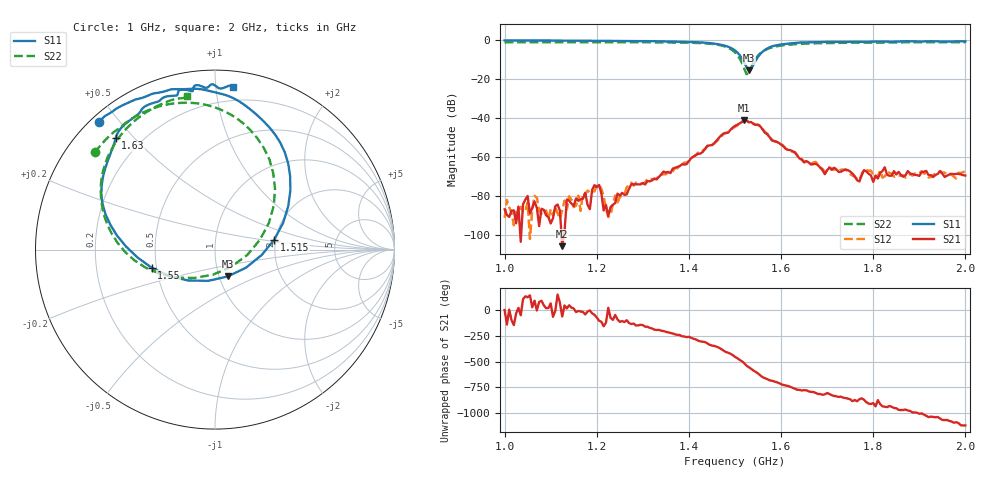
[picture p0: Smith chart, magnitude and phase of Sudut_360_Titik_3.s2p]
# Hz S RI R 50
! CMT, C1220, 16058040, 17.2.0/1
! Date: 14/08/2018 12:42:17
! Data: Format (Calibration Info)
! Freq  S11: Re/Im (F2)  S21: Re/Im (F2)  S12: Re/Im (F2)  S22: Re/Im (F2)
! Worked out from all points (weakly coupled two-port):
!   201 points, 1 GHz to 2 GHz, reference 50 ohm
!   highest |S21| = -41.10 dB at 1.52 GHz (marker M1); lowest = -105.9 dB at 1.125 GHz (marker M2)
!   lowest |S11| = -15.6 dB at 1.53 GHz (marker M3), VSWR 1.40, Z = 55 - j16.9 ohm
!   |S11| at or under -10 dB: 1.516 GHz to 1.547 GHz (30.34 MHz wide, 1.98 % of centre)
!   |S22| runs from -17.6 to -1.2 dB; largest |S21 - S12| = 0.00039
!   S11 on the Smith chart (normalised r, x): 1 GHz: 0.02, +0.44; 1.515 GHz: 1.97, +0.24; 1.55 GHz: 0.47, -0.11; 1.63 GHz: 0.11, +0.44; 2 GHz: 0.10, +1.11
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1e9  -0.6483 0.7136  4.48e-05 -2.02e-06  -1.7e-05 -2.14e-05  -0.6705 0.5419
1.125e9  -0.5218 0.8008  2.02e-06 -4.68e-06  4.06e-05 1.04e-05  -0.5944 0.6276
1.17e9  -0.4744 0.8223  7.76e-05 -3.21e-05  0.000109 -4.46e-05  -0.558 0.6592
1.195e9  -0.4389 0.8375  0.00012 -0.000143  8.68e-05 -9.49e-05  -0.5331 0.6728
1.205e9  -0.4282 0.8396  -5.31e-05 -0.000182  -3.76e-05 -0.000182  -0.5271 0.674
1.215e9  -0.4168 0.8423  -3.96e-05 -1.39e-05  -5.72e-05 -7.54e-05  -0.5233 0.6812
1.255e9  -0.3497 0.8681  -4.05e-05 -0.000112  -8.5e-06 -0.000102  -0.4847 0.7152
1.335e9  -0.2128 0.8932  -0.000294 8.06e-05  -0.000322 8.41e-05  -0.3732 0.7762
1.45e9  0.1835 0.7915  0.00193 0.000477  0.002 0.000356  0.018 0.7854
1.5e9  0.4201 0.3307  -0.000517 -0.0062  -0.000464 -0.00585  0.3344 0.341
1.515e9  0.3302 0.0552  -0.00571 -0.00529  -0.00562 -0.00546  0.2502 0.0545
1.52e9  0.2608 -0.0294  -0.00811 -0.00345  -0.00815 -0.00354  0.1798 -0.03
1.53e9  0.0719 -0.1494  -0.00742 0.00194  -0.00745 0.00195  -0.0108 -0.1394
1.55e9  -0.3533 -0.1007  -0.00168 0.00642  -0.002 0.00637  -0.3843 -0.1019
1.63e9  -0.5538 0.6208  0.000968 -0.000871  0.000985 -0.000825  -0.6151 0.4668
1.67e9  -0.4391 0.7455  0.000183 -0.00062  0.000216 -0.000679  -0.5623 0.584
1.77e9  -0.2371 0.8566  -0.000185 -0.000141  -0.00022 -0.00013  -0.4335 0.7293
1.78e9  -0.2157 0.8583  -0.000386 -0.000238  -0.000381 -0.000273  -0.4209 0.739
1.8e9  -0.204 0.8805  -0.000227 2.51e-06  -0.000329 0.000113  -0.3963 0.756
1.825e9  -0.1565 0.8893  -0.000441 0.000308  -0.000288 0.000125  -0.3667 0.7753
1.835e9  -0.134 0.883  -0.000286 0.000158  -0.000326 0.000209  -0.3551 0.7824
2e9  0.1009 0.9071  0.000266 -0.000194  0.000329 -0.000245  -0.1553 0.8541
